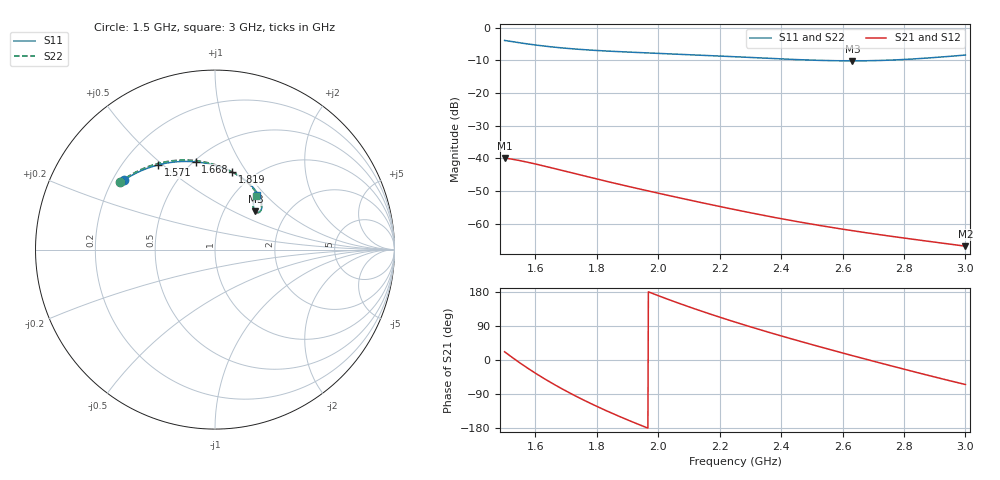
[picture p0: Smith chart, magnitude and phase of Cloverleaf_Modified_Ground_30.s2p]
! TOUCHSTONE file generated by CST MICROWAVE STUDIO
! Date and time: Tue Jan 14 11:28:40 2020
! Project name: Cloverleaf_Modified_Ground_30.cst
! Parameters = {A=0.0005; Dgp=0.033; Lgp=0.1; Lhorn=0.03; Lmax=0.015; Lmin=0.001; b=90.2683; dLhorn=1000}
! Header version: 2015
! Port assignment regex: !\s*Touchstone port\s*([0-9]+)\s*=\s*CST MWS port\s*([0-9]+)\s*\(\"(.*)\"\)(\s*mode\s*([0-9]+))?.*
! Touchstone port assignment:
! Touchstone port 1 = CST MWS port 1 ("")
! Touchstone port 2 = CST MWS port 2 ("")
# Hz S MA R 100
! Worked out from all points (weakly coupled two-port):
!   1003 points, 1.5 GHz to 3 GHz, reference 100 ohm
!   highest |S21| = -39.92 dB at 1.5 GHz (marker M1); lowest = -66.9 dB at 3 GHz (marker M2)
!   lowest |S11| = -10.1 dB at 2.632 GHz (marker M3), VSWR 1.90, Z = 140 + j66.3 ohm
!   |S11| at or under -10 dB: 2.526 GHz to 2.732 GHz (205.8 MHz wide, 7.83 % of centre)
!   |S22| runs from -10.2 to -3.7 dB; largest |S21 - S12| = 7.3e-07
!   S11 on the Smith chart (normalised r, x): 1.5 GHz: 0.24, +0.32; 1.571 GHz: 0.35, +0.48; 1.668 GHz: 0.51, +0.67; 1.819 GHz: 0.80, +0.86; 3 GHz: 1.25, +0.89
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1.5e9  0.6386 142.8  0.01009 21.7  0.01009 21.7  0.6505 144.9
1.5075e9  0.6304 140.7  0.009977 17.1  0.009977 17.1  0.6427 142.7
1.5375e9  0.5993 132.4  0.009448 -0.7  0.009449 -0.7  0.6125 134.1
1.5705e9  0.5686 124.0  0.008792 -19.1  0.008792 -19.1  0.5816 125.2
1.5915e9  0.5511 118.9  0.008361 -30.2  0.008361 -30.2  0.5635 119.9
1.6155e9  0.5331 113.4  0.007872 -42.5  0.007872 -42.5  0.5445 114.1
1.668e9  0.5004 102.4  0.006856 -67.6  0.006857 -67.6  0.5089 102.7
1.701e9  0.4839 96.2  0.006274 -82.3  0.006275 -82.3  0.4903 96.2
1.7505e9  0.464 87.8  0.005493 -103.0  0.005493 -103.0  0.4673 87.6
1.8195e9  0.4429 77.7  0.00458 -129.6  0.00458 -129.6  0.4428 77.3
1.8615e9  0.4327 72.4  0.004112 -144.7  0.004112 -144.7  0.431 72.0
1.905e9  0.4234 67.4  0.003685 -159.7  0.003686 -159.7  0.4204 67.0
2.001e9  0.4052 58.2  0.002913 169.5  0.002913 169.5  0.4008 57.9
2.058e9  0.395 53.7  0.002541 152.4  0.002541 152.4  0.3903 53.5
2.118e9  0.3841 49.7  0.002206 135.3  0.002206 135.3  0.3796 49.6
2.25e9  0.3597 43.4  0.001633 100.1  0.001633 100.1  0.3558 43.4
2.376e9  0.3369 40.5  0.001248 69.3  0.001248 69.3  0.3335 40.4
2.5005e9  0.3189 40.7  0.000979 40.6  0.0009791 40.6  0.3156 40.5
2.6325e9  0.3109 43.6  0.0007776 11.5  0.0007778 11.5  0.3073 43.4
2.751e9  0.3185 47.4  0.0006454 -13.9  0.0006455 -13.9  0.3145 47.3
2.877e9  0.3436 51.0  0.0005366 -40.1  0.0005366 -40.1  0.3392 51.0
3e9  0.3817 52.5  0.0004504 -64.7  0.0004503 -64.7  0.3771 52.6
